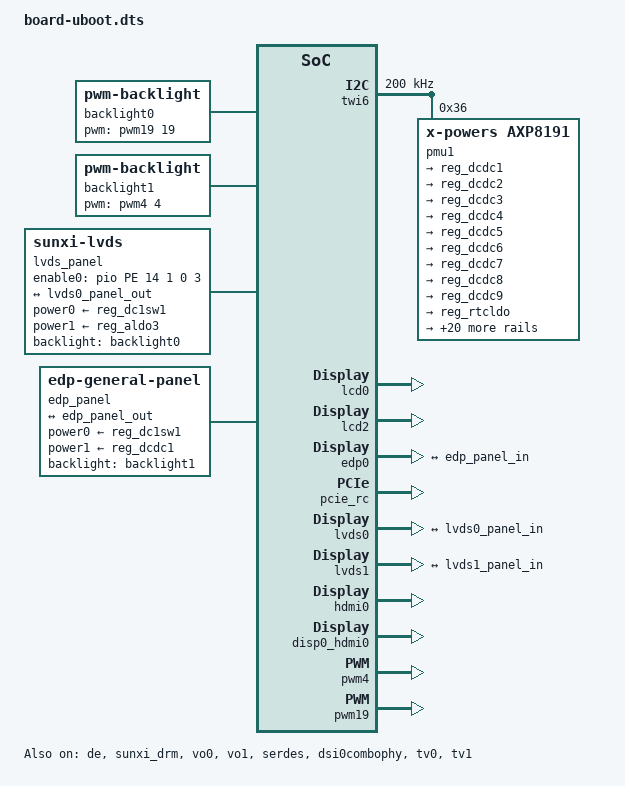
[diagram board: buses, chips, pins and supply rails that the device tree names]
/*
 * Allwinner Technology CO., Ltd. sun60iw2p1 soc board.
 *
 * soc board support.
 */

/ {
	backlight0: backlight0 {
		compatible = "pwm-backlight";
		status = "okay";
		brightness-levels = <
			  0   1   2   3   4   5   6   7
			  8   9  10  11  12  13  14  15
			 16  17  18  19  20  21  22  23
			 24  25  26  27  28  29  30  31
			 32  33  34  35  36  37  38  39
			 40  41  42  43  44  45  46  47
			 48  49  50  51  52  53  54  55
			 56  57  58  59  60  61  62  63
			 64  65  66  67  68  69  70  71
			 72  73  74  75  76  77  78  79
			 80  81  82  83  84  85  86  87
			 88  89  90  91  92  93  94  95
			 96  97  98  99 100 101 102 103
			104 105 106 107 108 109 110 111
			112 113 114 115 116 117 118 119
			120 121 122 123 124 125 126 127
			128 129 130 131 132 133 134 135
			136 137 138 139 140 141 142 143
			144 145 146 147 148 149 150 151
			152 153 154 155 156 157 158 159
			160 161 162 163 164 165 166 167
			168 169 170 171 172 173 174 175
			176 177 178 179 180 181 182 183
			184 185 186 187 188 189 190 191
			192 193 194 195 196 197 198 199
			200 201 202 203 204 205 206 207
			208 209 210 211 212 213 214 215
			216 217 218 219 220 221 222 223
			224 225 226 227 228 229 230 231
			232 233 234 235 236 237 238 239
			240 241 242 243 244 245 246 247
			248 249 250 251 252 253 254 255>;
		default-brightness-level = <73>;
		pwms = <&pwm19 19 25000 0>;
	};

	backlight1: backlight1 {
		compatible = "pwm-backlight";
		status = "okay";
		brightness-levels = <
			  0   1   2   3   4   5   6   7
			  8   9  10  11  12  13  14  15
			 16  17  18  19  20  21  22  23
			 24  25  26  27  28  29  30  31
			 32  33  34  35  36  37  38  39
			 40  41  42  43  44  45  46  47
			 48  49  50  51  52  53  54  55
			 56  57  58  59  60  61  62  63
			 64  65  66  67  68  69  70  71
			 72  73  74  75  76  77  78  79
			 80  81  82  83  84  85  86  87
			 88  89  90  91  92  93  94  95
			 96  97  98  99 100 101 102 103
			104 105 106 107 108 109 110 111
			112 113 114 115 116 117 118 119
			120 121 122 123 124 125 126 127
			128 129 130 131 132 133 134 135
			136 137 138 139 140 141 142 143
			144 145 146 147 148 149 150 151
			152 153 154 155 156 157 158 159
			160 161 162 163 164 165 166 167
			168 169 170 171 172 173 174 175
			176 177 178 179 180 181 182 183
			184 185 186 187 188 189 190 191
			192 193 194 195 196 197 198 199
			200 201 202 203 204 205 206 207
			208 209 210 211 212 213 214 215
			216 217 218 219 220 221 222 223
			224 225 226 227 228 229 230 231
			232 233 234 235 236 237 238 239
			240 241 242 243 244 245 246 247
			248 249 250 251 252 253 254 255>;
		default-brightness-level = <200>;
		pwms = <&pwm4 4 25000 0>;
	};

	lvds_panel: lvds_panel@0 {
		compatible = "sunxi-lvds";
		status = "okay";
		power-delay-ms = <10>;
		power0-supply = <&reg_dc1sw1>;
		power1-supply = <&reg_aldo3>;
		backlight = <&backlight0>;
		bus-format = <MEDIA_BUS_FMT_RGB888_1X7X4_SPWG>;
		/* dual lvds */
		// bus-format = <MEDIA_BUS_FMT_RGB888_1X7X4_JEIDA>;
		enable0-gpios = <&pio PE 14 1 0 3 1>;
		// enable1-gpios = <&pio PE 15 GPIO_ACTIVE_HIGH>;
		display-timings {
			native-mode = <&lvds0_timing0>;
			lvds0_timing0: timing0 {
				clock-frequency = <74871600>;
				hback-porch = <70>;
				hactive = <1280>;
				hfront-porch = <83>;
				hsync-len = <18>;
				vback-porch = <13>;
				vactive = <800>;
				vfront-porch = <37>;
				vsync-len = <10>;
			};
			/* dual lvds */
			lvds0_timing1: timing1 {
				clock-frequency = <149970240>;
				hback-porch = <64>;
				hactive = <1920>;
				hfront-porch = <64>;
				hsync-len = <16>;
				vback-porch = <4>;
				vactive = <1200>;
				vfront-porch = <4>;
				vsync-len = <3>;
			};
		};
		port {
			lvds0_panel_in: endpoint {
				remote-endpoint = <&lvds0_panel_out>;
			};
		};
	};

	lvds_panel1: lvds_panel1@0 {
		compatible = "sunxi-lvds";
		status = "disabled";
		power-delay-ms = <10>;
		power0-supply = <&reg_dc1sw1>;
		power1-supply = <&reg_aldo3>;
		backlight = <&backlight1>;
		bus-format = <MEDIA_BUS_FMT_RGB888_1X7X4_SPWG>;
		/* dual lvds */
		// bus-format = <MEDIA_BUS_FMT_RGB888_1X7X4_JEIDA>;
		//enable1-gpios = <&pio PE 15 GPIO_ACTIVE_HIGH>;
		enable0-gpios = <&pio PI 16 1 0 3 1>;
		// enable1-gpios = <&pio PI 15 1 0 3 1>;
		display-timings {
			native-mode = <&lvds1_timing0>;
			lvds1_timing0: timing0 {
				clock-frequency = <74871600>;
				hback-porch = <70>;
				hactive = <1280>;
				hfront-porch = <83>;
				hsync-len = <18>;
				vback-porch = <13>;
				vactive = <800>;
				vfront-porch = <37>;
				vsync-len = <10>;
			};
			/* dual lvds */
			lvds1_timing1: timing1 {
				clock-frequency = <149970240>;
				hback-porch = <64>;
				hactive = <1920>;
				hfront-porch = <64>;
				hsync-len = <16>;
				vback-porch = <4>;
				vactive = <1200>;
				vfront-porch = <4>;
				vsync-len = <3>;
			};
		};
		port {
			lvds1_panel_in: endpoint {
				remote-endpoint = <&lvds1_panel_out>;
			};
		};
	};

	dsi_panel: dsi_panel@0 {
		compatible = "allwinner,panel-dsi";
		status = "disabled";
		power-delay-ms = <10>;
		power0-supply = <&reg_dc1sw1>;
		power1-supply = <&reg_aldo3>;

		enable0-gpios = <&pio PE 14 GPIO_ACTIVE_HIGH>;
		// enable1-gpios = <&pio PE 15 GPIO_ACTIVE_HIGH>;
		// reset-num = <2>;
		// reset-delay-ms = <20>;
		// reset-gpios = <&pio PA 2 GPIO_ACTIVE_HIGH>; //reset
		backlight = <&backlight0>;
		dsi,flags = <(MIPI_DSI_MODE_VIDEO)>;
		dsi,lanes = <4>;
		dsi,format = <0>;

		panel-init-sequence = [
			39 01 04 B9 FF 83 94
			39 01 03 BA 73 83
			39 01 10 B1 6C 15 15 24 E4 11 F1 80 E4 D7 23 80 C0 D2 58
			39 01 0C B2 00 64 10 07 20 1C 08 08 1C 4D 00
			39 01 0D B4 00 FF 03 5A 03 5A 03 5A 01 6A 01 6A

			39 01 1F D3 00 06 00 40 1A 08 00 32 10
			07 00 07 54 15 0F 05 04 02 12
			10 05 07 33 33 0B 0B 37 10 07 07

			39 01 2D D5 19 19 18 18 1A 1A 1B 1B 04
			05 06 07 00 01 02 03 20 21 18
			18 18 18 18 18 18 18 18 18 18
			18 22 23 18 18 18 18 18 18 18
			18 18 18 18 18

			39 01 2D D6 18 18 19 19 1A 1A 1B 1B 03
			02 01 00 07 06 05 04 23 22 18
			18 18 18 18 18 18 18 18 18 18
			18 21 20 18 18 18 18 18 18 18
			18 18 18 18 18

			39 01 2B E0 00 06 0C 31 34 3F 1D 41 06
			0A 0C 17 0F 12 15 13 14 07 12
			15 16 00 06 0B 30 34 3F 1D 40
			07 0A 0D 18 0E 12 14 12 14 08
			13 14 19

			39 01 03 B6 3A 3A
			15 01 02 CC 09
			15 01 02 D2 55
			39 01 03 C0 30 14
			39 01 04 BF 41 0E 01
			39 01 05 C7 00 C0 40 C0
			15 01 02 DF 8E
			05 78 01 11
			05 14 01 29
		];

		panel-exit-sequence = [
			05 00 01 28
			05 78 01 10
		];

		display-timings {
			native-mode = <&timing0>;
			timing0: timing0 {
				clock-frequency = <74880000>;
				hback-porch = <24>;
				hactive = <800>;
				hfront-porch = <132>;
				hsync-len = <4>;
				vback-porch = <8>;
				vactive = <1280>;
				vfront-porch = <8>;
				vsync-len = <4>;
			};
		};
		port {
			panel0_in: endpoint@0 {
				reg = <0>;
				remote-endpoint = <&panel_output_0>;
			};
		};
	};

	edp_panel: edp_panel {
		compatible = "edp-general-panel";
		status = "okay";
		power0-supply = <&reg_dc1sw1>;
		power1-supply = <&reg_dcdc1>;
		power-delay-ms = <50>;
		backlight = <&backlight1>;
		ports {
			#address-cells = <1>;
			#size-cells = <0>;
			panel_in_edp: port@0 {
				#address-cells = <1>;
				#size-cells = <0>;
				reg = <0>;
				edp_panel_in: endpoint@0 {
					reg = <0>;
					remote-endpoint = <&edp_panel_out>;
				};
			};
		};
	};

};

&platform {
	eraseflag   = <1>;
	next_work   = <3>;
	debug_mode  = <4>;
};

&target {
	boot_clock = <1008>;	/*CPU boot frequency, Unit: MHz*/
	storage_type = <0xffffffff>; /*boot medium, 0-nand, 1-card0, 2-card2, -1(defualt)auto scan*/
	burn_key = <1>;		/*1:support burn key; 0:not support burn key*/
	dragonboard_test = <0>;	/*1:support card boot dragonboard; 0:not support card boot dragonboard*/
};

&power_sply {
	ntc_status = <2>;
	battery_exist = <0>;
};

&charger0 {
	pmu_safe_vol = <3400>;
	bat_bmp_type = <1>;
	ntc_cur = <60>;
	safe_temp_H = <600>;//60
	safe_temp_L = <0xFFFFFFCE>;//-5
	pmu_bat_temp_para1 = <4541>; //Murata -25
	pmu_bat_temp_para2 = <2762>; //-15
	pmu_bat_temp_para3 = <2180>; //-10
	pmu_bat_temp_para4 = <1732>; //-5
	pmu_bat_temp_para5 = <1386>;//0
	pmu_bat_temp_para6 = <1117>; //5
	pmu_bat_temp_para7 = <905>; //10
	pmu_bat_temp_para8 = <606>; //20
	pmu_bat_temp_para9 = <414>; //30
	pmu_bat_temp_para10 = <290>; //40
	pmu_bat_temp_para11 = <244>; //45
	pmu_bat_temp_para12 = <205>; //50
	pmu_bat_temp_para13 = <176>; //55
	pmu_bat_temp_para14 = <150>; //60
	pmu_bat_temp_para15 = <111>; //70
	pmu_bat_temp_para16 = <83>; //80
};

&twi6 {
	clock-frequency = <200000>;
	pinctrl-0 = <&s_twi0_pins_a>;
	pinctrl-1 = <&s_twi0_pins_b>;
	twi-supply = <&reg_aldo3>;
	status = "okay";

	pmu1: pmu@36 {
		compatible = "x-powers,axp8191";
		reg = <0x36>;
		status = "okay";
		regulator0: regulators@0 {
			reg_dcdc1: dcdc1 {
				regulator-name = "axp8191-dcdc1";
			};
			reg_dcdc2: dcdc2 {
				regulator-name = "axp8191-dcdc2";
			};
			reg_dcdc3: dcdc3 {
				regulator-name = "axp8191-dcdc3";
			};
			reg_dcdc4: dcdc4 {
				regulator-name = "axp8191-dcdc4";
			};
			reg_dcdc5: dcdc5 {
				regulator-name = "axp8191-dcdc5";
			};
			reg_dcdc6: dcdc6 {
				regulator-name = "axp8191-dcdc6";
			};
			reg_dcdc7: dcdc7 {
				regulator-name = "axp8191-dcdc7";
			};
			reg_dcdc8: dcdc8 {
				regulator-name = "axp8191-dcdc8";
			};
			reg_dcdc9: dcdc9 {
				regulator-name = "axp8191-dcdc9";
			};
			reg_rtcldo: rtcldo {
				regulator-name = "axp8191-rtcldo";
			};
			reg_aldo1: aldo1 {
				regulator-name = "axp8191-aldo1";
			};
			reg_aldo2: aldo2 {
				regulator-name = "axp8191-aldo2";
			};
			reg_aldo3: aldo3 {
				regulator-name = "axp8191-aldo3";
			};
			reg_aldo4: aldo4 {
				regulator-name = "axp8191-aldo4";
			};
			reg_aldo5: aldo5 {
				regulator-name = "axp8191-aldo5";
			};
			reg_aldo6: aldo6 {
				regulator-name = "axp8191-aldo6";
			};
			reg_dldo1: dldo1 {
				regulator-name = "axp8191-dldo1";
			};
			reg_dldo2: dldo2 {
				regulator-name = "axp8191-dldo2";
			};
			reg_dldo3: dldo3 {
				regulator-name = "axp8191-dldo3";
			};
			reg_dldo4: dldo4 {
				regulator-name = "axp8191-dldo4";
			};
			reg_dldo5: dldo5 {
				regulator-name = "axp8191-dldo5";
			};
			reg_dldo6: dldo6 {
				regulator-name = "axp8191-dldo6";
			};
			reg_eldo1: eldo1 {
				regulator-name = "axp8191-eldo1";
			};
			reg_eldo2: eldo2 {
				regulator-name = "axp8191-eldo2";
			};
			reg_eldo3: eldo3 {
				regulator-name = "axp8191-eldo3";
			};
			reg_eldo4: eldo4 {
				regulator-name = "axp8191-eldo4";
			};
			reg_eldo5: eldo5 {
				regulator-name = "axp8191-eldo5";
			};
			reg_eldo6: eldo6 {
				regulator-name = "axp8191-eldo6";
			};
			reg_dc1sw1: dc1sw1 {
				regulator-name = "axp8191-dc1sw1";
				swin-supply = <&reg_dcdc1>;
				regulator-always-on;
				regulator-boot-on;
			};
			reg_dc1sw2: dc1sw2 {
				regulator-name = "axp8191-dc1sw2";
				swin-supply = <&reg_dcdc1>;
				regulator-always-on;
				regulator-boot-on;
			};
		};
	};
};

&sdc0_pins_a {
		allwinner,pins = "PF0", "PF1",
				 "PF3", "PF4", "PF5";
		allwinner,function = "sdc0";
		allwinner,muxsel = <2>;
		allwinner,drive = <0>;
		allwinner,pull = <1>;
};

&sdc0_pins_b {
		allwinner,pins = "PF2";
		allwinner,function = "sdc0";
		allwinner,muxsel = <2>;
		allwinner,drive = <2>;
		allwinner,pull = <1>;
};

&sdc0_pins_c {
		allwinner,pins = "PF0", "PF1", "PF2",
		  		 "PF3", "PF4", "PF5";
		allwinner,function = "uart0_jtag";
		allwinner,muxsel = <3>;
		allwinner,drive = <0>;
		allwinner,pull = <1>;
};

&sdc2_pins_a {
		allwinner,pins = "PC6",
				 "PC8", "PC9", "PC10", "PC11",
				 "PC13", "PC14", "PC15", "PC16";
		allwinner,function = "sdc3";
		allwinner,muxsel = <4>;
		allwinner,drive = <1>;
		allwinner,pull = <1>;
};

&sdc2_pins_b {
		allwinner,pins = "PC1", "PC5";
		allwinner,function = "sdc3";
		allwinner,muxsel = <4>;
		allwinner,drive = <3>;
		allwinner,pull = <1>;
};

&sdc2_pins_c {
		allwinner,pins = "PC0";
		allwinner,function = "sdc3";
		allwinner,muxsel = <4>;
		allwinner,drive = <3>;
		allwinner,pull = <2>;
};

&pwm4_pin_active {
		allwinner,pins = "PD22";
		allwinner,function = "pwm0_4";
		allwinner,muxsel = <0x2>;
		allwinner,drive = <3>;
		allwinner,pull = <2>;
};

&pwm4_pin_sleep {
		allwinner,pins = "PD22";
		allwinner,function = "io_disabled";
		allwinner,muxsel = <0xf>;
		allwinner,drive = <3>;
		allwinner,pull = <2>;
};

&pwm16_pin_active {
	allwinner,pins = "PI15";
	allwinner,function = "pwm1_6";
	allwinner,muxsel = <0x5>;
	allwinner,drive = <3>;
	allwinner,pull = <2>;
};

&pwm16_pin_sleep {
	allwinner,pins = "PI15";
	allwinner,function = "io_disabled";
	allwinner,muxsel = <0xf>;
	allwinner,drive = <3>;
	allwinner,pull = <2>;
};

&pwm19_pin_active {
	allwinner,pins = "PE15";
	allwinner,function = "pwm1_9";
	allwinner,muxsel = <0x5>;
	allwinner,drive = <3>;
	allwinner,pull = <2>;
};

&pwm19_pin_sleep {
	allwinner,pins = "PE15";
	allwinner,function = "io_disabled";
	allwinner,muxsel = <0xf>;
	allwinner,drive = <3>;
	allwinner,pull = <2>;
};

&card0_boot_para {
		/* Avoid dtc compiling warnings. @TODO: Developer should modify this to the actual value */
		/* reg = <0x0 0x2 0x0 0x0>;  [> Avoid dtc compiling warnings. @TODO: Developer should modify this to the actual value <] */
	device_type = "card0_boot_para";
	card_ctrl = <0x0>;
	card_high_speed = <0x1>;
	card_line = <0x4>;
	clk_mmc = "sdmmc0_mod";
	pll-0 = "hosc";
	pll-1 = "pll_periph1_400m";
	pll-2 = "pll_periph1_300m";
	pinctrl-0 = <&sdc0_pins_a &sdc0_pins_b>;
	clk_type = "typ1";
};

&card2_boot_para {
	/*
	* Avoid dtc compiling warnings.
	* @TODO: Developer should modify this to the actual value
	*/
	reg = <0x0 0x3 0x0 0x0>;
	device_type = "card2_boot_para";
	card_ctrl = <0x2>;
	card_high_speed = <0x1>;
	card_line = <0x8>;
	clk_mmc = "sdmmc2_mod";
	pll-0 = "hosc";
	pll-1 = "pll_periph1_800m";
	pll-2 = "pll_periph1_600m";
	pinctrl-0 = <&sdc2_pins_a &sdc2_pins_c &sdc2_pins_b>;
	sdc_ex_dly_used = <0x2>;
	sdc_tm4_hs200_max_freq = <200>;
	sdc_tm4_hs400_max_freq = <200>;
	sdc_tm4_win_th = <0x7>;
	sdc_io_1v8 = <0x1>;
	sdc_mbus = <0x1>;
	sdc_type = "tm4";
	clk_type = "typ1";
};

/*
 *recovery_adc_used :  模块使能端，    1：开启，0：关闭
 *press_mode_enable :  长短按模式使能，1：开启，0：关闭
 *                     a)如果开启了该模式，则key_work_mode失效，short_press_mode和long_press_mode生效,
 *                     recovery按键可以通过长按和短按来触发两种不同的模式;
 *                     b)如果关闭了该模式，则key_work_mode生效，recovery按键只能触发一种模式.
 *key_work_mode     :  模式选择
 *                     0: 刷机,
 *                     1: 一键恢复(uboot阶段),
 *                     2: 安卓recovery,
 *                     3: 安卓恢复出厂设置.
 *                     如果不设置，模式为安卓recovery.
 *short_press_mode  :  长按触发的模式，选项同上.
 *long_press_mode   :  短按触发的模式，选项同上.
 *key_press_time    :  定义长按的时间，单位:毫秒.
 *recovery_key      :  按键配置.
 */
&adc_boot_recovery {
	recovery_adc_used = <1>;
	recovery_adc_channel = <0>; /* vol+ key */
	press_mode_enable = <1>;
	short_press_mode = <0x0>;
	long_press_mode = <0x2>;
	key_press_time = <2000>;
	key_min = <9>;
	key_max = <11>;
};

&gpadc_boot_recovery {
	recovery_adc_used = <1>;
	recovery_adc_channel = <9>; /* recovery key */
	press_mode_enable = <1>;
	short_press_mode = <0x0>;
	long_press_mode = <0x3>;
	key_press_time = <5000>;
	key_min = <455>;
	key_max = <500>;
};

&de {
	chn_cfg_mode = <2>;
	status = "okay";
};

&sunxi_drm {
	status = "okay";
};

&vo0 {
	status = "okay";
};

&vo1 {
	status = "okay";
};

&lcd0 {
	status = "okay";
};

&lcd2 {
	status = "okay";
};

&edp0 {
	/* lane_invert = <lane0_invert lan1_invert lan2 invert lane_invert>*/
	compatible = "allwinner,drm-edp";
	/* compatible = "allwinner,drm-dp"; */
	status = "okay";
	edp_colordepth = <8>; /* 6/8/10/12/16 */
	edp_color_fmt = <0>; /* 0:RGB  1: YUV444  2: YUV422 */
	edp_pixel_mode = <1>;

	vcc-edp-supply = <&reg_dldo2>;
	vdd-edp-supply = <&reg_dcdc2>;

	ports {
		edp_out: port@1 {
			edp_panel_out: endpoint@0 {
				reg = <0>;
				remote-endpoint = <&edp_panel_in>;
			};
		};
	};
};

&serdes {
	status = "okay";
	combophy0: combo-phy0@6c01000 {
		lane_invert = <0 0 0 0>;
		lane_remap = <2 3 0 1>;
	};
};

&pcie_rc {
	pcie1v8_supply = "dldo2";
	pcie3v3_supply = "dc1sw1";
	status = "okay";
};

&dsi0 {
	status = "disabled";
	pinctrl-0 = <&dsi0_4lane_pins_a>;
	pinctrl-1 = <&dsi0_4lane_pins_b>;
	pinctrl-names = "active","sleep";

	ports {
		dsi0_out: port@1{
			dsi_out_panel: endpoint {
				remote-endpoint = <&panel_input>;
			};
		};
	};
	panel: panel@0 {
		compatible = "allwinner,virtual-panel";
		status = "okay";
		reg = <0>;
		ports {
			panel_in: port@0 {
				reg = <0>;
				panel_input: endpoint@0 {
					reg = <0>;
					remote-endpoint = <&dsi_out_panel>;
				};
			};
			panel_out: port@1 {
				reg = <1>;
				panel_output_0: endpoint@0 {
					reg = <0>;
					remote-endpoint = <&panel0_in>;
				};
			};
		};
	};
};

&lvds0 {
	status = "okay";
	dual-channel = <0>;
	pinctrl-0 = <&lvds0_pins_a>;
	pinctrl-1 = <&lvds0_pins_b>;
	/* dual lvds */
	// dual-channel = <1>;
	// pinctrl-0 = <&lvds0_pins_a &lvds1_pins_a>;
	// pinctrl-1 = <&lvds0_pins_b &lvds1_pins_b>;
	pinctrl-names = "active","sleep";
	ports {
		port@1 {
			reg = <1>;
			lvds0_panel_out: endpoint@0 {
				reg = <0>;
				remote-endpoint = <&lvds0_panel_in>;
			};
		};
	};
};

&lvds1 {
	status = "okay";
	dual-channel = <0>;
	pinctrl-0 = <&lvds2_pins_a>;
	pinctrl-1 = <&lvds2_pins_b>;
	/* dual lvds */
	// dual-channel = <1>;
	// pinctrl-0 = <&lvds0_pins_a &lvds1_pins_a>;
	// pinctrl-1 = <&lvds0_pins_b &lvds1_pins_b>;
	pinctrl-names = "active","sleep";
	ports {
		port@1 {
			reg = <1>;
			lvds1_panel_out: endpoint@0 {
				reg = <0>;
				remote-endpoint = <&lvds1_panel_in>;
			};
		};
	};
};

&sid {
	sid-supply = <&reg_dldo6>;
	voltage = <1800>;
	power_supply = "dldo6";
};

&dsi0combophy {
	status = "okay";
};

/* dual lvds or each other */
&dsi1combophy {
	status = "disabled";
};

&tv0 {
	status = "okay";
};

&tv1 {
	status = "okay";
};

&hdmi0 {
	dcdc2-supply = <&reg_dcdc2>;
	dldo2-supply = <&reg_dldo2>;
	hdmi_power0 = "dcdc2-supply";
	hdmi_power1 = "dldo2-supply";
	uhdmi_power_count = <2>;

	/*
	 * @uhdmi_fast_output: config uboot hdmi boot mode
	 *	- 1: use fast output mode. will only output 1080P video.
	 *	- 0: use compatible output mode. will read edid and check config mode
	 * @uhdmi_resistor_select: select hdmi resistor config. Actual onboard config!!!
	 *	- 1: use onboard resistor
	 *	- 0: use onchip resistor
	 */
	uhdmi_fast_output = <0>;
	uhdmi_resistor_select = <1>;

	/* match rule: min clk <= clock < max clk */
	snps_phy = <
		 25000 185625 0x0007 0x8160 0x8188
		185625 185625 0x0007 0x8160 0x8198
		185625 340000 0x0004 0x8040 0x8E85
		340000 600000 0x0000 0x80c0 0x82F6>;

	status = "okay";
};

&disp0_dsi0 {
	enable = <0>;
	status = "disabled";
	logo,uboot = "bootlogo.bmp";
};

&disp1_lvds0 {
	enable = <1>;
	status = "disabled";
	logo,uboot = "bootlogo.bmp";
};

&disp1_lvds1 {
	enable = <0>;
	status = "disabled";
	logo,uboot = "bootlogo.bmp";
};

&disp0_hdmi0 {
	enable = <1>;
	status = "okay";
	logo,uboot = "bootlogo.bmp";
};

&pwm4{
	pinctrl-names = "active","sleep";
	pinctrl-0 = <&pwm4_pin_active>;
	pinctrl-1 = <&pwm4_pin_sleep>;
	status = "okay";
};

&pwm16 {
	pinctrl-names = "active","sleep";
	pinctrl-0 = <&pwm16_pin_active>;
	pinctrl-1 = <&pwm16_pin_sleep>;
	status = "disabled";
};

&pwm19 {
	pinctrl-names = "active","sleep";
	pinctrl-0 = <&pwm19_pin_active>;
	pinctrl-1 = <&pwm19_pin_sleep>;
	status = "okay";
};
